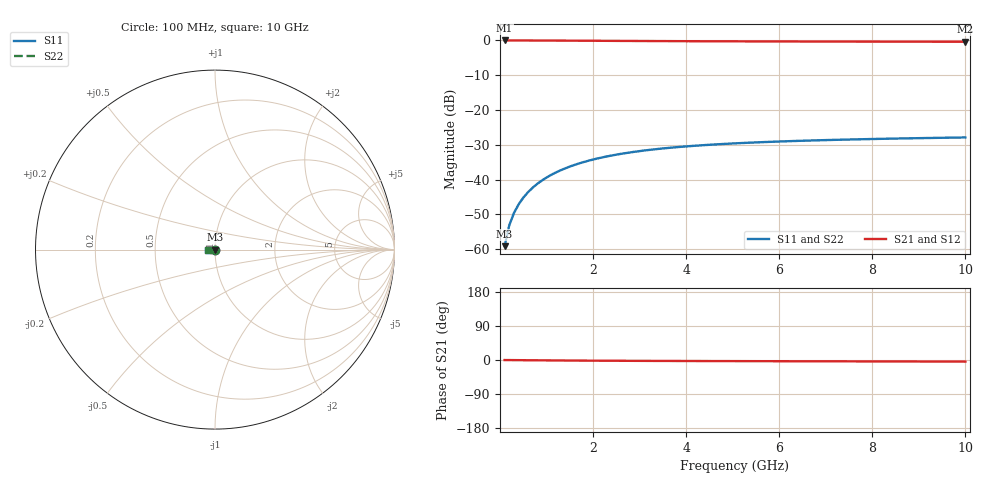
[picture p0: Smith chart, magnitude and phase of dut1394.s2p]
! Touchstone file exported from HFSS 2024.1.0
!  File:  C:/UserFiles/LocalFiles/RDL_TSV_Batchsim/temp_TSV1_1394_1780381588.aedt
!  Generated:  02:31:34 PM Jun  2, 2026
!  Design:  TSV1
!  Project:  temp_TSV1_1394_1780381588
!  Setup:  Setup1
!  Solution:  Sweep
! Variables:
!  dtsv = 11.15um
!  hbump = 3um
!  htsv = 64.09um
!  lrdl = 252.1521522um
!  p = 40
!  p1 = 48.08um
!  t = 500um
!  trdl = 3um
!  wrdl = 24.89489489um
# GHz S MA R 50.000000
! Terminal data exported
! Port[1] = TSV22_T1
! Port[2] = TSV22_T2
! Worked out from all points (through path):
!   100 points, 100 MHz to 10 GHz, reference 50 ohm
!   highest |S21| = 0.00 dB at 100 MHz (marker M1); lowest = -0.4 dB at 10 GHz (marker M2)
!   lowest |S11| = -59.1 dB at 100 MHz (marker M3), VSWR 1.00, Z = 50 - j0.11 ohm
!   |S11| at or under -10 dB: start of sweep to end of sweep
!   |S22| runs from -59.1 to -27.9 dB; largest |S21 - S12| = 4.6e-15
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0.1  0.001105 -86.4  0.9999 -0.1  0.9999 -0.1  0.001105 -86.4
! Gamma 0 0 0 0
! Port Impedance 50 0 50 0
0.2  0.002204 -90.6  0.9997 -0.2  0.9997 -0.2  0.002204 -90.6
0.3  0.003304 -93.1  0.9996 -0.3  0.9996 -0.3  0.003304 -93.1
0.4  0.0044 -95.2  0.9993 -0.4  0.9993 -0.4  0.0044 -95.2
0.5  0.005488 -97.2  0.999 -0.5  0.999 -0.5  0.005488 -97.2
0.6  0.006565 -99.1  0.9986 -0.6  0.9986 -0.6  0.006565 -99.1
0.7  0.007627 -100.9  0.9982 -0.7  0.9982 -0.7  0.007627 -100.9
0.8  0.008673 -102.7  0.9978 -0.8  0.9978 -0.8  0.008673 -102.7
0.9  0.0097 -104.4  0.9972 -0.9  0.9972 -0.9  0.0097 -104.4
1.1  0.01169 -107.8  0.9961 -1.1  0.9961 -1.1  0.01169 -107.8
1.4  0.0145 -112.6  0.9941 -1.3  0.9941 -1.3  0.0145 -112.6
1.6  0.01625 -115.6  0.9926 -1.5  0.9926 -1.5  0.01625 -115.6
1.8  0.01789 -118.5  0.9911 -1.6  0.9911 -1.6  0.01789 -118.5
2.1  0.02016 -122.6  0.9888 -1.8  0.9888 -1.8  0.02016 -122.6
2.5  0.02284 -127.6  0.9858 -2.0  0.9858 -2.0  0.02284 -127.6
2.9  0.02515 -132.2  0.9828 -2.2  0.9828 -2.2  0.02515 -132.2
3.4  0.0276 -137.3  0.9794 -2.4  0.9794 -2.4  0.0276 -137.3
4.2  0.0307 -144.3  0.9748 -2.7  0.9748 -2.7  0.0307 -144.3
5.1  0.03331 -150.8  0.9705 -3.0  0.9705 -3.0  0.03331 -150.8
6.7  0.03652 -160.1  0.9651 -3.4  0.9651 -3.4  0.03652 -160.1
8.4  0.03879 -167.8  0.9612 -3.8  0.9612 -3.8  0.03879 -167.8
10  0.04036 -173.7  0.9587 -4.2  0.9587 -4.2  0.04036 -173.7
